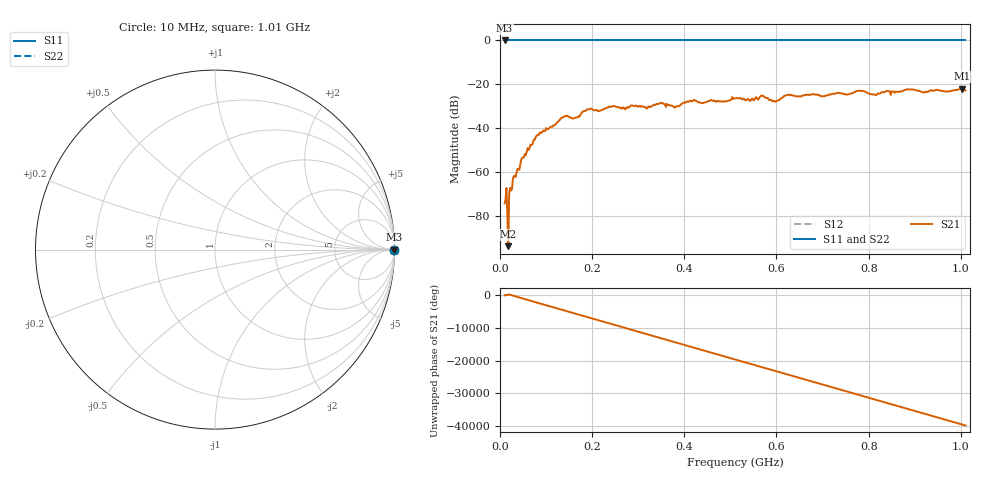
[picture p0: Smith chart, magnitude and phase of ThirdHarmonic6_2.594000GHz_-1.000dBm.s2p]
! 8/17/2025 5:34:35 AM
! C:\ANRITSUVNA\TEMP\TEMP.S2P
! CHANNEL.1
! TR.MEASUREMENT
! RAW.DATA
! RF.CORRECTION.OFF
! AVERAGING.OFF
! IF.BANDWIDTH: 5KHZ
! SWEEPTYPE:  FREQ.SWEEP(Linear)
! Reference Plane Port Info
! PORT:  PORT1  PORT2
! DISTANCE:  0  m  0  m
! TIME:  0  s  0  s
! PHASE.OFFSET:  0  deg.  0  deg.
! LOSS:  0  dB  0  dB
! REF.LOSS:  0  dB  0  dB
! REF.FREQ:  0  Hz  0  Hz
! Power Info
! POWER:  -20  dBm  -20  dBm
! EFF.POWER:  -20  dBm  -20  dBm
! SOURCE.ATTEN:  0  dB  0  dB
! TEST.ATTEN:  0  dB  0  dB
# GHZ S RI R 50.0
! FREQ.GHZ  S11RE  S11IM  S21RE  S21IM  S12RE  S12IM  S22RE  S22IM
!; PortSelection: Port_12
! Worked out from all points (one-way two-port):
!   501 points, 10 MHz to 1.01 GHz, reference 50 ohm
!   highest |S21| = -21.90 dB at 1.002 GHz (marker M1); lowest = -93.7 dB at 18 MHz (marker M2)
!   lowest |S11| = 0.0 dB at 10 MHz (marker M3)
!   |S11| at or under -10 dB: nowhere
!   |S22| runs from 0.0 to 0.0 dB; largest |S21 - S12| = 1.1
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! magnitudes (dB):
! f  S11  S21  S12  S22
! 10 MHz  0.0  -74.2  0.0  0.0
! 14 MHz  0.0  -67.2  0.0  0.0
! 18 MHz  0.0  -93.7  0.0  0.0
! 20 MHz  0.0  -69.6  0.0  0.0
! 24 MHz  0.0  -68.4  0.0  0.0
! 32 MHz  0.0  -61.7  0.0  0.0
! 50 MHz  0.0  -53.4  0.0  0.0
! 78 MHz  0.0  -43.9  0.0  0.0
! 136 MHz  0.0  -35.1  0.0  0.0
! 162 MHz  0.0  -35.3  0.0  0.0
! 178 MHz  0.0  -32.7  0.0  0.0
! 344 MHz  0.0  -28.9  0.0  0.0
! 382 MHz  0.0  -30.1  0.0  0.0
! 418 MHz  0.0  -27.6  0.0  0.0
! 510 MHz  0.0  -26.4  0.0  0.0
! 570 MHz  0.0  -25.1  0.0  0.0
! 596 MHz  0.0  -27.6  0.0  0.0
! 624 MHz  0.0  -24.9  0.0  0.0
! 678 MHz  0.0  -24.6  0.0  0.0
! 844 MHz  0.0  -23.1  0.0  0.0
! 1.002 GHz  0.0  -21.9  0.0  0.0
! 1.01 GHz  0.0  -22.8  0.0  0.0
